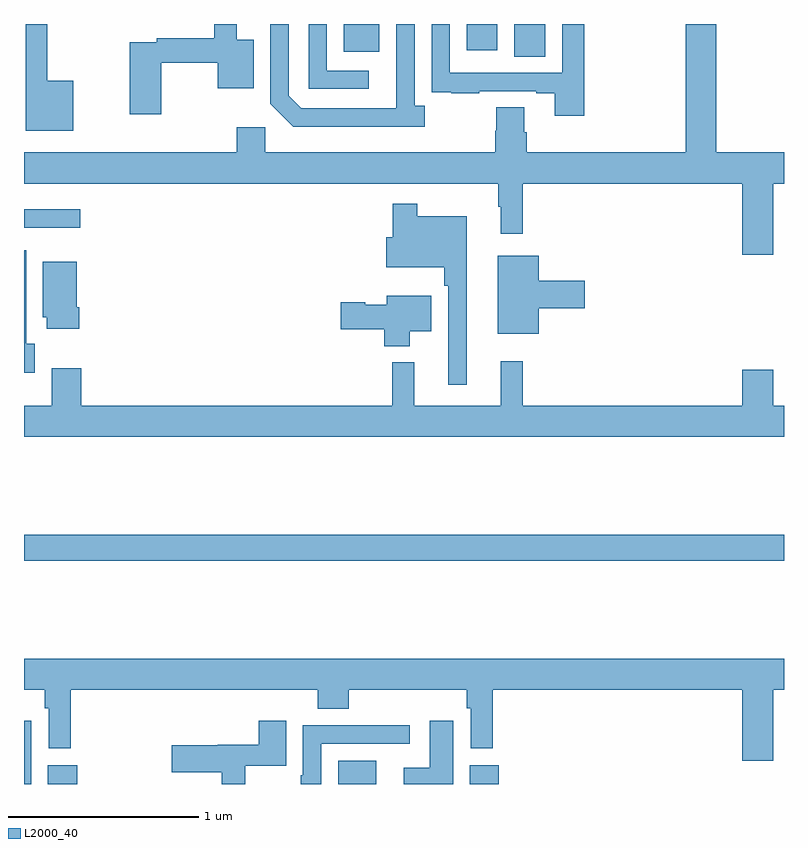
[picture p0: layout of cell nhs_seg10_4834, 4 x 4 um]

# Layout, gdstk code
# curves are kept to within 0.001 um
import gdstk
lib = gdstk.Library(unit=1e-6, precision=1e-09)
def R(c, l, rs):  # rectangles x0, y0, x1, y1
    for r in rs: c.add(gdstk.rectangle(r[:2], r[2:], *l))
def P(c, l, *ps):  # polygons
    for p in ps: c.add(gdstk.Polygon(p, *l))
L2000_40 = (2000, 40)

nhs_seg10_4834 = lib.new_cell('nhs_seg10_4834')
R(nhs_seg10_4834, L2000_40, [(389,1286.5,389.038,1286.833), (389.126,1286.5,389.279,1286.599), (390.653,1286.5,390.853,1286.623), (391.346,1286.5,391.499,1286.599), (389,1287.676,393,1287.812), (389,1289.427,389.296,1289.524), (391.58,1290.328,391.744,1290.5), (390.683,1290.353,390.871,1290.5), (391.331,1290.363,391.492,1290.5)])
P(nhs_seg10_4834, L2000_40, [(390.814,1290.255),(390.594,1290.255),(390.594,1290.5),(390.498,1290.5),(390.498,1290.159),(390.814,1290.159)],
  [(389.722,1290.297),(390.02,1290.297),(390.02,1290.161),(390.208,1290.161),(390.208,1290.418),(390.119,1290.418),(390.119,1290.5),(390.001,1290.5),(390.001,1290.425),(389.698,1290.425),(389.698,1290.405),(389.557,1290.405),(389.557,1290.024),(389.722,1290.024)],
  [(391.949,1290.5),(391.833,1290.5),(391.833,1290.243),(391.242,1290.243),(391.242,1290.5),(391.146,1290.5),(391.146,1290.25),(391.147,1290.25),(391.147,1290.141),(391.249,1290.141),(391.249,1290.135),(391.397,1290.135),(391.397,1290.147),(391.697,1290.147),(391.697,1290.135),(391.793,1290.135),(391.793,1290.018),(391.949,1290.018)],
  [(389.26,1290.202),(389.123,1290.202),(389.123,1290.5),(389.009,1290.5),(389.009,1289.939),(389.26,1289.939)],
  [(392.944,1289.66),(393,1289.66),(393,1289.824),(392.643,1289.824),(392.643,1290.5),(392.483,1290.5),(392.483,1289.824),(391.646,1289.824),(391.646,1289.93),(391.633,1289.93),(391.633,1290.062),(391.486,1290.062),(391.486,1289.937),(391.481,1289.937),(391.481,1289.824),(390.27,1289.824),(390.27,1289.956),(390.119,1289.956),(390.119,1289.824),(389,1289.824),(389,1289.66),(391.497,1289.66),(391.497,1289.537),(391.508,1289.537),(391.508,1289.397),(391.625,1289.397),(391.625,1289.66),(392.78,1289.66),(392.78,1289.286),(392.944,1289.286)],
  [(391.108,1290.07),(391.056,1290.07),(391.056,1290.5),(390.96,1290.5),(390.959,1290.057),(390.459,1290.057),(390.393,1290.123),(390.393,1290.5),(390.297,1290.5),(390.297,1290.081),(390.418,1289.96),(391.108,1289.96)],
  [(391.33,1289.488),(391.069,1289.488),(391.069,1289.554),(390.94,1289.554),(390.94,1289.377),(390.906,1289.377),(390.906,1289.219),(391.213,1289.219),(391.213,1289.123),(391.233,1289.123),(391.233,1288.602),(391.33,1288.602)],
  [(389.056,1288.818),(389.011,1288.818),(389.011,1289.308),(389,1289.308),(389,1288.664),(389.056,1288.664)],
  [(391.708,1289.003),(391.951,1289.003),(391.951,1289.15),(391.708,1289.15),(391.708,1289.281),(391.493,1289.281),(391.493,1288.871),(391.708,1288.871)],
  [(389.291,1289.008),(389.278,1289.008),(389.278,1289.248),(389.099,1289.248),(389.099,1288.956),(389.12,1288.956),(389.12,1288.896),(389.291,1288.896)],
  [(391.03,1288.883),(391.144,1288.883),(391.144,1289.071),(390.908,1289.071),(390.908,1289.023),(390.795,1289.023),(390.795,1289.036),(390.666,1289.036),(390.666,1288.894),(390.896,1288.894),(390.896,1288.805),(391.03,1288.805)],
  [(390.937,1288.72),(390.937,1288.492),(389.3,1288.492),(389.3,1288.687),(389.147,1288.687),(389.147,1288.492),(389,1288.492),(389,1288.328),(393,1288.328),(393,1288.492),(392.944,1288.492),(392.944,1288.681),(392.78,1288.681),(392.78,1288.492),(391.625,1288.492),(391.625,1288.726),(391.508,1288.726),(391.508,1288.492),(391.055,1288.492),(391.055,1288.72)],
  [(389,1286.996),(389.11,1286.996),(389.11,1286.9),(389.13,1286.9),(389.13,1286.688),(389.246,1286.688),(389.246,1286.996),(390.545,1286.996),(390.545,1286.897),(390.71,1286.897),(390.71,1286.996),(391.33,1286.996),(391.33,1286.9),(391.35,1286.9),(391.35,1286.688),(391.466,1286.688),(391.466,1286.996),(392.78,1286.996),(392.78,1286.622),(392.944,1286.622),(392.944,1286.996),(393,1286.996),(393,1287.16),(389,1287.16)],
  [(391.258,1286.833),(391.136,1286.833),(391.136,1286.586),(390.998,1286.586),(390.998,1286.5),(391.258,1286.5)],
  [(390.165,1286.597),(390.379,1286.597),(390.379,1286.833),(390.236,1286.833),(390.236,1286.707),(390.021,1286.707),(390.021,1286.703),(389.778,1286.703),(389.778,1286.561),(390.04,1286.561),(390.04,1286.5),(390.165,1286.5)],
  [(390.564,1286.712),(391.03,1286.712),(391.03,1286.81),(390.793,1286.81),(390.793,1286.808),(390.468,1286.808),(390.468,1286.545),(390.456,1286.545),(390.456,1286.5),(390.564,1286.5)])

lib.write_gds('nhs_seg10_4834.gds')
